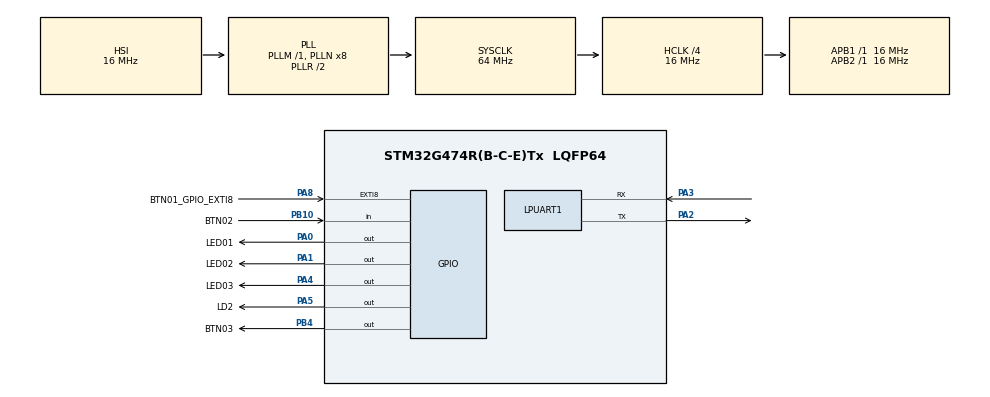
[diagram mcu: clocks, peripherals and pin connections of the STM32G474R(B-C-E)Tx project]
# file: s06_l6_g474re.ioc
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Mcu.Family=STM32G4
Mcu.Name=STM32G474R(B-C-E)Tx
Mcu.Package=LQFP64
NVIC.EXTI9_5_IRQn=true\:5\:0\:true\:false\:true\:true\:true\:true
NVIC.PriorityGroup=NVIC_PRIORITYGROUP_4
NVIC.TIM1_BRK_TIM15_IRQn=true\:15\:0\:false\:false\:true\:false\:true\:true
NVIC.TimeBase=TIM1_BRK_TIM15_IRQn
NVIC.TimeBaseIP=TIM15
PA0.GPIO_Label=LED01
PA0.Signal=GPIO_Output
PA1.GPIO_Label=LED02
PA1.Signal=GPIO_Output
PA13.Mode=Serial_Wire
PA13.Signal=SYS_JTMS-SWDIO
PA14.Mode=Serial_Wire
PA14.Signal=SYS_JTCK-SWCLK
PA2.Mode=Asynchronous
PA2.Signal=LPUART1_TX
PA3.Mode=Asynchronous
PA3.Signal=LPUART1_RX
PA4.GPIO_Label=LED03
PA4.Signal=GPIO_Output
PA5.GPIO_Label=LD2
PA5.Signal=GPIO_Output
PA8.GPIO_Label=BTN01_GPIO_EXTI8
PA8.GPIO_ModeDefaultEXTI=GPIO_MODE_IT_FALLING
PA8.GPIO_PuPd=GPIO_PULLUP
PA8.Signal=GPXTI8
PB10.GPIO_Label=BTN02
PB10.GPIO_PuPd=GPIO_PULLUP
PB10.Signal=GPIO_Input
PB4.GPIO_Label=BTN03
PB4.GPIO_PuPd=GPIO_PULLUP
PB4.Signal=GPIO_Output
ProjectManager.HeapSize=0x200
ProjectManager.StackSize=0x400
ProjectManager.TargetToolchain=STM32CubeIDE
RCC.ADC12Freq_Value=64000000
RCC.ADC345Freq_Value=64000000
RCC.AHBCLKDivider=RCC_SYSCLK_DIV4
RCC.AHBFreq_Value=16000000
RCC.APB1Freq_Value=16000000
RCC.APB1TimFreq_Value=16000000
RCC.APB2Freq_Value=16000000
RCC.APB2TimFreq_Value=16000000
RCC.CortexFreq_Value=16000000
RCC.EXTERNAL_CLOCK_VALUE=12288000
RCC.HCLKFreq_Value=16000000
RCC.HSE_VALUE=24000000
RCC.HSI48_VALUE=48000000
RCC.HSI_VALUE=16000000
RCC.LSE_VALUE=32768
RCC.RTCClockSelection=RCC_RTCCLKSOURCE_LSE
RCC.SYSCLKFreq_VALUE=64000000
RCC.SYSCLKSource=RCC_SYSCLKSOURCE_PLLCLK
RCC.USBFreq_Value=64000000
RCC.VCOOutputFreq_Value=128000000
VP_SYS_VS_DBSignals.Mode=DisableDeadBatterySignals
VP_SYS_VS_tim15.Mode=TIM15
board=NUCLEO-G474RE

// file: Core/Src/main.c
/* USER CODE BEGIN Header */
/**
  ******************************************************************************
  * @file           : main.c
  * @brief          : Main program body
  ******************************************************************************
  * @attention
  *
  * Copyright (c) 2026 STMicroelectronics.
  * All rights reserved.
  *
  * This software is licensed under terms that can be found in the LICENSE file
  * in the root directory of this software component.
  * If no LICENSE file comes with this software, it is provided AS-IS.
  *
  ******************************************************************************

  */
/* USER CODE END Header */
#include "main.h"

/* USER CODE BEGIN Includes */
#include <stdio.h>
#include <string.h>
#include "FreeRTOS.h"
#include "task.h"
#include <queue.h>
#include <portmacro.h>
/* USER CODE END Includes */

/* USER CODE BEGIN PTD */
typedef struct{
	GPIO_TypeDef *GPIO;
	uint32_t Pin;
} gpio_data_t;
/* USER CODE END PTD */

UART_HandleTypeDef hlpuart1;

/* USER CODE BEGIN PV */

TickType_t xTickHook = 0;
UBaseType_t xWaterMark01 = 0, xWaterMark02 = 0, xWaterMark03 = 0, xWaterMark04 = 0;

QueueHandle_t xQueue = NULL;

/* USER CODE END PV */

void SystemClock_Config(void);
static void MX_GPIO_Init(void);
static void MX_LPUART1_UART_Init(void);

/* USER CODE BEGIN 0 */
gpio_data_t led = {
		.GPIO = LED01_GPIO_Port,
		.Pin = LED01_Pin
};

/* Callbacks */
void HAL_GPIO_EXTI_Callback(uint16_t GPIO_Pin){
	BaseType_t pxHigherPriorityTaskWoken = pdFALSE;
	gpio_data_t *p = &led;
	xQueueSendFromISR(xQueue, &p, &pxHigherPriorityTaskWoken);

	if(pxHigherPriorityTaskWoken == pdTRUE){
		portYIELD_FROM_ISR(pxHigherPriorityTaskWoken);
	}
}

/* Hardware realted functions */

// Led interno da NUCLEO-G474RE
void LedLD2On(){
	HAL_GPIO_WritePin(LD2_GPIO_Port, LD2_Pin, GPIO_PIN_SET);
}

void LedLD2Off(){
	HAL_GPIO_WritePin(LD2_GPIO_Port, LD2_Pin, GPIO_PIN_RESET);
}

/* Local functions*/

/* Tasks */
void TaskBtn02(void *pvParams){
	gpio_data_t *led02;
	led02 = pvPortMalloc(sizeof(gpio_data_t));
	led02->GPIO = LED02_GPIO_Port;
	led02->Pin = LED02_Pin;

	while (1){
		// retorna a quantidade mínima de espaço livre que restou na pilha
		xWaterMark02 = uxTaskGetStackHighWaterMark( NULL );

		// Logica do botão presionado
		if(HAL_GPIO_ReadPin(BTN02_GPIO_Port, BTN02_Pin) == GPIO_PIN_RESET){

			// Enviando para a fila a ref dos pinos do led
			xQueueSend(xQueue, &led02, 0);
			vTaskDelay(pdMS_TO_TICKS(250));

			// Debounce
			while (HAL_GPIO_ReadPin(BTN02_GPIO_Port, BTN02_Pin) == GPIO_PIN_RESET){
				vTaskDelay(pdMS_TO_TICKS(10));
			}
			vTaskDelay(pdMS_TO_TICKS(50));
		}
	}
}

void TaskBtn03(void *pvParams){
	gpio_data_t *led03;
	led03 = pvPortMalloc(sizeof(gpio_data_t));
	led03->GPIO = LED03_GPIO_Port;
	led03->Pin = LED03_Pin;

	while (1){
		// retorna a quantidade mínima de espaço livre que restou na pilha
		xWaterMark03 = uxTaskGetStackHighWaterMark( NULL );

		// Logica do botão presionado
		if(HAL_GPIO_ReadPin(BTN03_GPIO_Port, BTN03_Pin) == GPIO_PIN_RESET){

			// Enviando para a fila a ref dos pinos do led
			xQueueSend(xQueue, &led03, 0);
			vTaskDelay(pdMS_TO_TICKS(250));

			// Debounce
			while (HAL_GPIO_ReadPin(BTN03_GPIO_Port, BTN03_Pin) == GPIO_PIN_RESET){
				vTaskDelay(pdMS_TO_TICKS(10));
			}
			vTaskDelay(pdMS_TO_TICKS(50));
		}

	}
}

void TaskLed(void *pvParams){
	gpio_data_t *led_aux;

	while (1){
		// retorna a quantidade mínima de espaço livre que restou na pilha
		xWaterMark04 = uxTaskGetStackHighWaterMark( NULL );

		// Ler a ref do pinos na fila do led que deve ser invertido
		xQueueReceive(xQueue, &led_aux, portMAX_DELAY);
		HAL_GPIO_TogglePin(led_aux->GPIO, led_aux->Pin);
	}
}
/* Hooks*/
void vApplicationStackOverflowHook( TaskHandle_t xTask, char *pcTaskName ){
	Error_Handler();
	LedLD2Off();
}

/* USER CODE END 0 */

int main(void)
{

  /* USER CODE BEGIN 1 */
	TaskHandle_t TaskHandle02, TaskHandle03, TaskHandle04;
	BaseType_t xReturn;
	BaseType_t uxStackDepth = 128; // em words

  /* USER CODE END 1 */

  /* MCU Configuration--------------------------------------------------------*/

  /* Reset of all peripherals, Initializes the Flash interface and the Systick. */
  HAL_Init();

  /* Configure the system clock */
  SystemClock_Config();

  /* Initialize all configured peripherals */
  MX_GPIO_Init();
  MX_LPUART1_UART_Init();
  /* USER CODE BEGIN 2 */

  LedLD2On();

  // Criando as task
  xReturn = xTaskCreate(TaskBtn02,
    		  "Task BTN 02",
  		  uxStackDepth,
    		  NULL,
    		  1,
    		  &TaskHandle02);

    if (xReturn != pdPASS){
      Error_Handler();
    }

    xReturn = xTaskCreate(TaskBtn03,
  			"Task BTN 03",
  			uxStackDepth,
  			NULL,
  			1,
  			&TaskHandle03);

    if (xReturn != pdPASS){
  	 Error_Handler();
    }

    xReturn = xTaskCreate(TaskLed,
  			"Task Led",
  			uxStackDepth,
  			NULL,
  			1,
  			&TaskHandle04);

    if (xReturn != pdPASS){
  	 Error_Handler();
    }

  // Criando a fila
  xQueue = xQueueCreate(3, sizeof(gpio_data_t*));

  /* USER CODE END 2 */

  /* Infinite loop */
  /* USER CODE BEGIN WHILE */

  // Inicializando o FreeRTOS
  vTaskStartScheduler();

  /* Never reaches here */
  while (1)
  {
    /* USER CODE END WHILE */

  }
}

void SystemClock_Config(void)
{
  RCC_OscInitTypeDef RCC_OscInitStruct = {0};
  RCC_ClkInitTypeDef RCC_ClkInitStruct = {0};

  /** Configure the main internal regulator output voltage
  */
  HAL_PWREx_ControlVoltageScaling(PWR_REGULATOR_VOLTAGE_SCALE1);

  /** Initializes the RCC Oscillators according to the specified parameters
  * in the RCC_OscInitTypeDef structure.
  */
  RCC_OscInitStruct.OscillatorType = RCC_OSCILLATORTYPE_HSI;
  RCC_OscInitStruct.HSIState = RCC_HSI_ON;
  RCC_OscInitStruct.HSICalibrationValue = RCC_HSICALIBRATION_DEFAULT;
  RCC_OscInitStruct.PLL.PLLState = RCC_PLL_ON;
  RCC_OscInitStruct.PLL.PLLSource = RCC_PLLSOURCE_HSI;
  RCC_OscInitStruct.PLL.PLLM = RCC_PLLM_DIV1;
  RCC_OscInitStruct.PLL.PLLN = 8;
  RCC_OscInitStruct.PLL.PLLP = RCC_PLLP_DIV2;
  RCC_OscInitStruct.PLL.PLLQ = RCC_PLLQ_DIV2;
  RCC_OscInitStruct.PLL.PLLR = RCC_PLLR_DIV2;
  if (HAL_RCC_OscConfig(&RCC_OscInitStruct) != HAL_OK)
  {
    Error_Handler();
  }

  /** Initializes the CPU, AHB and APB buses clocks
  */
  RCC_ClkInitStruct.ClockType = RCC_CLOCKTYPE_HCLK|RCC_CLOCKTYPE_SYSCLK
                              |RCC_CLOCKTYPE_PCLK1|RCC_CLOCKTYPE_PCLK2;
  RCC_ClkInitStruct.SYSCLKSource = RCC_SYSCLKSOURCE_PLLCLK;
  RCC_ClkInitStruct.AHBCLKDivider = RCC_SYSCLK_DIV4;
  RCC_ClkInitStruct.APB1CLKDivider = RCC_HCLK_DIV1;
  RCC_ClkInitStruct.APB2CLKDivider = RCC_HCLK_DIV1;

  if (HAL_RCC_ClockConfig(&RCC_ClkInitStruct, FLASH_LATENCY_0) != HAL_OK)
  {
    Error_Handler();
  }
}

static void MX_LPUART1_UART_Init(void)
{

  hlpuart1.Instance = LPUART1;
  hlpuart1.Init.BaudRate = 209700;
  hlpuart1.Init.WordLength = UART_WORDLENGTH_8B;
  hlpuart1.Init.StopBits = UART_STOPBITS_1;
  hlpuart1.Init.Parity = UART_PARITY_NONE;
  hlpuart1.Init.Mode = UART_MODE_TX_RX;
  hlpuart1.Init.HwFlowCtl = UART_HWCONTROL_NONE;
  hlpuart1.Init.OneBitSampling = UART_ONE_BIT_SAMPLE_DISABLE;
  hlpuart1.Init.ClockPrescaler = UART_PRESCALER_DIV1;
  hlpuart1.AdvancedInit.AdvFeatureInit = UART_ADVFEATURE_NO_INIT;
  if (HAL_UART_Init(&hlpuart1) != HAL_OK)
  {
    Error_Handler();
  }
  if (HAL_UARTEx_SetTxFifoThreshold(&hlpuart1, UART_TXFIFO_THRESHOLD_1_8) != HAL_OK)
  {
    Error_Handler();
  }
  if (HAL_UARTEx_SetRxFifoThreshold(&hlpuart1, UART_RXFIFO_THRESHOLD_1_8) != HAL_OK)
  {
    Error_Handler();
  }
  if (HAL_UARTEx_DisableFifoMode(&hlpuart1) != HAL_OK)
  {
    Error_Handler();
  }

}

static void MX_GPIO_Init(void)
{
  GPIO_InitTypeDef GPIO_InitStruct = {0};

  /* GPIO Ports Clock Enable */
  __HAL_RCC_GPIOA_CLK_ENABLE();
  __HAL_RCC_GPIOB_CLK_ENABLE();

  /*Configure GPIO pin Output Level */
  HAL_GPIO_WritePin(GPIOA, LED01_Pin|LED02_Pin|LED03_Pin|LD2_Pin, GPIO_PIN_RESET);

  /*Configure GPIO pin Output Level */
  HAL_GPIO_WritePin(BTN03_GPIO_Port, BTN03_Pin, GPIO_PIN_RESET);

  /*Configure GPIO pins : LED01_Pin LED02_Pin LED03_Pin LD2_Pin */
  GPIO_InitStruct.Pin = LED01_Pin|LED02_Pin|LED03_Pin|LD2_Pin;
  GPIO_InitStruct.Mode = GPIO_MODE_OUTPUT_PP;
  GPIO_InitStruct.Pull = GPIO_NOPULL;
  GPIO_InitStruct.Speed = GPIO_SPEED_FREQ_LOW;
  HAL_GPIO_Init(GPIOA, &GPIO_InitStruct);

  /*Configure GPIO pin : BTN02_Pin */
  GPIO_InitStruct.Pin = BTN02_Pin;
  GPIO_InitStruct.Mode = GPIO_MODE_INPUT;
  GPIO_InitStruct.Pull = GPIO_PULLUP;
  HAL_GPIO_Init(BTN02_GPIO_Port, &GPIO_InitStruct);

  /*Configure GPIO pin : BTN01_GPIO_EXTI8_Pin */
  GPIO_InitStruct.Pin = BTN01_GPIO_EXTI8_Pin;
  GPIO_InitStruct.Mode = GPIO_MODE_IT_FALLING;
  GPIO_InitStruct.Pull = GPIO_PULLUP;
  HAL_GPIO_Init(BTN01_GPIO_EXTI8_GPIO_Port, &GPIO_InitStruct);

  /*Configure GPIO pin : BTN03_Pin */
  GPIO_InitStruct.Pin = BTN03_Pin;
  GPIO_InitStruct.Mode = GPIO_MODE_OUTPUT_PP;
  GPIO_InitStruct.Pull = GPIO_PULLUP;
  GPIO_InitStruct.Speed = GPIO_SPEED_FREQ_LOW;
  HAL_GPIO_Init(BTN03_GPIO_Port, &GPIO_InitStruct);

  /* EXTI interrupt init*/
  HAL_NVIC_SetPriority(EXTI9_5_IRQn, 5, 0);
  HAL_NVIC_EnableIRQ(EXTI9_5_IRQn);

}

/* USER CODE BEGIN 4 */

// Redireciona os Prints para a USART
int __io_putchar(int ch){
	HAL_UART_Transmit(&hlpuart1, (uint8_t*)&ch, 1, HAL_MAX_DELAY);
	return ch;
}
/* USER CODE END 4 */

void HAL_TIM_PeriodElapsedCallback(TIM_HandleTypeDef *htim)
{
  if (htim->Instance == TIM15)
  {
    HAL_IncTick();
  }
}

void Error_Handler(void)
{
  __disable_irq();
  while (1)
  {
  }
}
